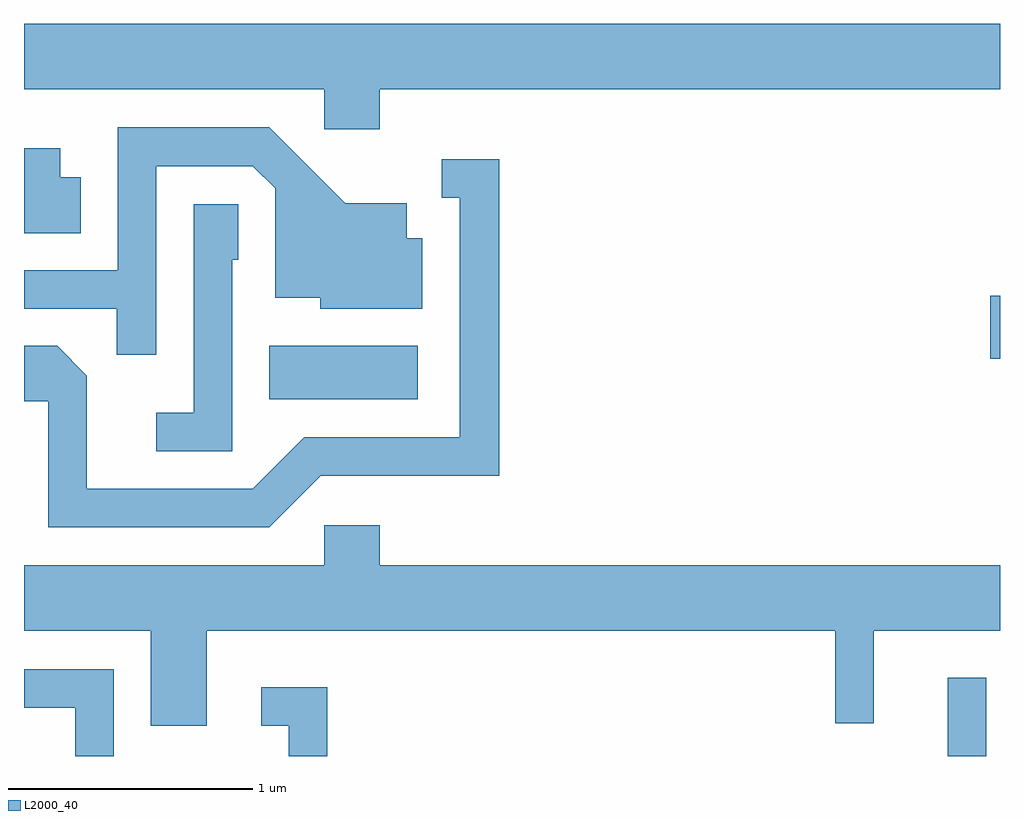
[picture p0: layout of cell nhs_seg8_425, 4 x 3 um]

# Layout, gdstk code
import gdstk
lib = gdstk.Library(unit=1e-6, precision=1e-09)
def R(c, l, rs):  # rectangles x0, y0, x1, y1
    for r in rs: c.add(gdstk.rectangle(r[:2], r[2:], *l))
def P(c, l, *ps):  # polygons
    for p in ps: c.add(gdstk.Polygon(p, *l))
L2000_40 = (2000, 40)

nhs_seg8_425 = lib.new_cell('nhs_seg8_425')
R(nhs_seg8_425, L2000_40, [(201.396,1840.342,201.554,1840.663), (198.616,1841.806,199.224,1842.024), (201.571,1841.971,201.611,1842.229)])
P(nhs_seg8_425, L2000_40, [(199.069,1843.076),(201.611,1843.076),(201.611,1843.344),(197.611,1843.344),(197.611,1843.076),(198.841,1843.076),(198.841,1842.911),(199.069,1842.911)],
  [(198.154,1842.761),(198.549,1842.761),(198.641,1842.669),(198.641,1842.221),(198.826,1842.221),(198.826,1842.176),(199.244,1842.176),(199.244,1842.464),(199.179,1842.464),(199.179,1842.609),(198.927,1842.609),(198.617,1842.919),(197.996,1842.919),(197.996,1842.334),(197.611,1842.334),(197.611,1842.176),(197.991,1842.176),(197.991,1841.988),(198.154,1841.988)],
  [(197.844,1842.714),(197.759,1842.714),(197.759,1842.834),(197.611,1842.834),(197.611,1842.486),(197.844,1842.486)],
  [(198.827,1841.491),(199.559,1841.491),(199.559,1842.789),(199.323,1842.789),(199.323,1842.631),(199.396,1842.631),(199.396,1841.649),(198.759,1841.649),(198.549,1841.439),(197.869,1841.439),(197.869,1841.902),(197.747,1842.024),(197.611,1842.024),(197.611,1841.796),(197.711,1841.796),(197.711,1841.281),(198.617,1841.281)],
  [(198.464,1842.376),(198.489,1842.376),(198.489,1842.604),(198.306,1842.604),(198.306,1841.749),(198.153,1841.749),(198.153,1841.591),(198.464,1841.591)],
  [(198.359,1840.856),(200.936,1840.856),(200.936,1840.478),(201.094,1840.478),(201.094,1840.856),(201.611,1840.856),(201.611,1841.124),(199.069,1841.124),(199.069,1841.289),(198.841,1841.289),(198.841,1841.124),(197.611,1841.124),(197.611,1840.856),(198.131,1840.856),(198.131,1840.466),(198.359,1840.466)],
  [(197.979,1840.699),(197.611,1840.699),(197.611,1840.541),(197.821,1840.541),(197.821,1840.342),(197.979,1840.342)],
  [(198.854,1840.624),(198.583,1840.624),(198.583,1840.466),(198.696,1840.466),(198.696,1840.342),(198.854,1840.342)])

lib.write_gds('nhs_seg8_425.gds')
